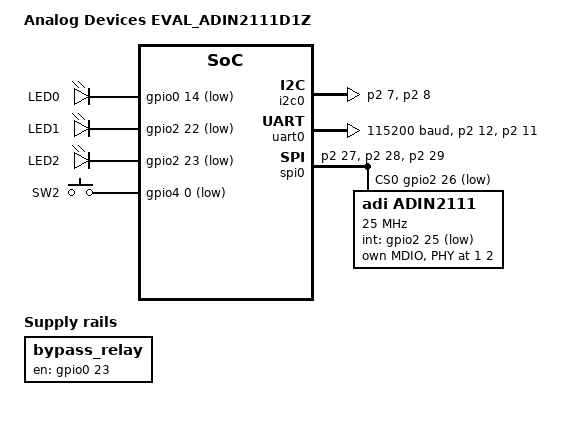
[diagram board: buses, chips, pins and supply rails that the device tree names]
/*
 * Copyright (c) 2023-2024 Analog Devices, Inc.
 *
 * SPDX-License-Identifier: Apache-2.0
 */

/dts-v1/;

#include <adi/max32/max32690.dtsi>
#include <adi/max32/max32690-pinctrl.dtsi>
#include <zephyr/dt-bindings/gpio/adi-max32-gpio.h>
#include <zephyr/dt-bindings/input/input-event-codes.h>

/ {
	model = "Analog Devices EVAL_ADIN2111D1Z";
	compatible = "adi,eval-adin2111d1z";

	chosen {
		zephyr,console = &uart0;
		zephyr,shell-uart = &uart0;
		zephyr,sram = &sram0;
		zephyr,flash = &flash0;
		zephyr,code-partition = &code_partition;
	};

	bypass_relay: bypass_relay_uc {
		compatible = "regulator-fixed";
		regulator-name = "bypass_relay";
		enable-gpios = <&gpio0 23 GPIO_ACTIVE_HIGH>;
		regulator-boot-on;
	};

	leds {
		compatible = "gpio-leds";

		orange_led: led_0 {
			gpios = <&gpio0 14 GPIO_ACTIVE_LOW>;
			label = "LED0";
		};

		green_led: led_1 {
			gpios = <&gpio2 22 GPIO_ACTIVE_LOW>;
			label = "LED1";
		};

		red_led: led_2 {
			gpios = <&gpio2 23 GPIO_ACTIVE_LOW>;
			label = "LED2";
		};
	};

	buttons {
		compatible = "gpio-keys";

		pb0: pb0 {
			gpios = <&gpio4 0 (GPIO_PULL_UP | GPIO_ACTIVE_LOW)>;
			label = "SW2";
			zephyr,code = <INPUT_KEY_0>;
		};
	};

	aliases {
		bypassuc = &bypass_relay;
		led0 = &orange_led;
		led1 = &green_led;
		led2 = &red_led;
		sw0 = &pb0;
	};
};

&clk_ipo {
	status = "okay";
};

&clk_ibro {
	status = "okay";
};

&gpio0 {
	status = "okay";
};

&gpio1 {
	status = "okay";
};

&gpio2 {
	status = "okay";
};

&gpio3 {
	status = "okay";
};

&gpio4 {
	status = "okay";
};

&i2c0 {
	pinctrl-0 = <&i2c0a_sda_p2_7 &i2c0a_scl_p2_8>;
	pinctrl-names = "default";
	status = "okay";
};

&uart0 { /*USB-C P4*/
	clock-source = <ADI_MAX32_PRPH_CLK_SRC_IBRO>;
	pinctrl-0 = <&uart0a_tx_p2_12 &uart0a_rx_p2_11>;
	pinctrl-names = "default";
	current-speed = <115200>;
	data-bits = <8>;
	parity = "none";
	status = "okay";
};

&spi0b_miso_p2_27 {
	power-source = <MAX32_VSEL_VDDIOH>;
};

&spi0b_mosi_p2_28 {
	power-source = <MAX32_VSEL_VDDIOH>;
};

&spi0b_sck_p2_29 {
	power-source = <MAX32_VSEL_VDDIOH>;
};

&spi0b_ss1_p2_26 {
	power-source = <MAX32_VSEL_VDDIOH>;
};

&spi0 {
	pinctrl-0 = <&spi0b_miso_p2_27 &spi0b_mosi_p2_28 &spi0b_sck_p2_29>;
	pinctrl-names = "default";
	cs-gpios = <&gpio2 26 (GPIO_ACTIVE_LOW | GPIO_PULL_UP)>;
	status = "okay";

	adin2111: adin2111@0 {
		compatible = "adi,adin2111";
		reg = <0x0>;
		spi-max-frequency = <DT_FREQ_M(25)>;
		int-gpios = <&gpio2 25 (GPIO_ACTIVE_LOW | MAX32_GPIO_VSEL_VDDIOH)>;
		status = "okay";
		spi-oa;
		spi-oa-protection;

		port1 {
			local-mac-address = [00 aa 22 fe da c8];
			status = "okay";
		};

		port2 {
			local-mac-address = [00 aa 22 fe da c8];
			status = "okay";
		};

		mdio {
			compatible = "adi,adin2111-mdio";
			#address-cells = <1>;
			#size-cells = <0>;
			status = "okay";

			ethernet-phy@1 {
				reg = <0x1>;
				compatible = "adi,adin2111-phy";
				status = "okay";
			};

			ethernet-phy@2 {
				reg = <0x2>;
				compatible = "adi,adin2111-phy";
				status = "okay";
			};
		};
	};
};

&flash0 {
	partitions {
		compatible = "fixed-partitions";
		#address-cells = <1>;
		#size-cells = <1>;

		code_partition: partition@0 {
			label = "image";
			reg = <0x0 DT_SIZE_M(1)>;
		};

		storage_partition: partition@100000 {
			label = "storage_partition";
			reg = <0x100000 DT_SIZE_K(256)>;
		};
	};
};
